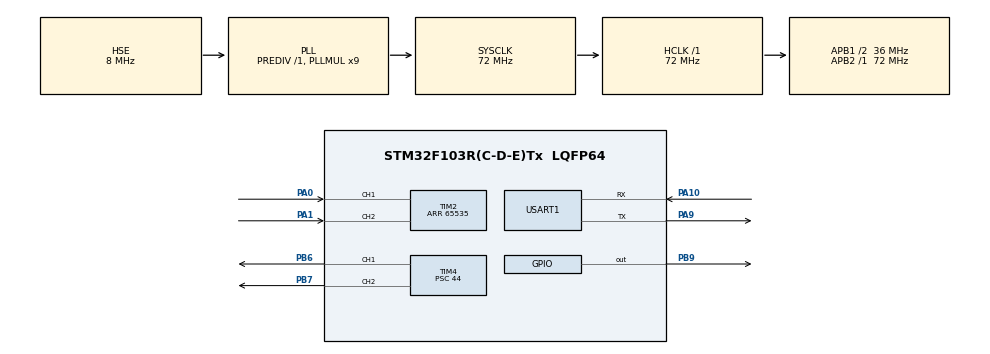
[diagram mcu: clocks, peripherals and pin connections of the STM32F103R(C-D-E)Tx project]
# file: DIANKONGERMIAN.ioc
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Mcu.Family=STM32F1
Mcu.Name=STM32F103R(C-D-E)Tx
Mcu.Package=LQFP64
NVIC.FLASH_IRQn=true\:0\:0\:false\:true\:true\:1\:true
NVIC.PriorityGroup=NVIC_PRIORITYGROUP_4
NVIC.TIM2_IRQn=true\:0\:0\:false\:true\:true\:2\:true
NVIC.TIM4_IRQn=true\:0\:0\:false\:true\:true\:4\:true
NVIC.USART1_IRQn=true\:0\:0\:false\:true\:true\:3\:true
PA0-WKUP.Signal=S_TIM2_CH1_ETR
PA1.Signal=S_TIM2_CH2
PA10.Mode=Multiprocessor_communication
PA10.Signal=USART1_RX
PA13.Mode=Serial_Wire
PA13.Signal=SYS_JTMS-SWDIO
PA14.Mode=Serial_Wire
PA14.Signal=SYS_JTCK-SWCLK
PA9.Mode=Multiprocessor_communication
PA9.Signal=USART1_TX
PB6.Signal=S_TIM4_CH1
PB7.Signal=S_TIM4_CH2
PB9.Signal=GPIO_Output
PD0-OSC_IN.Mode=HSE-External-Oscillator
PD0-OSC_IN.Signal=RCC_OSC_IN
PD1-OSC_OUT.Mode=HSE-External-Oscillator
PD1-OSC_OUT.Signal=RCC_OSC_OUT
ProjectManager.HeapSize=0x200
ProjectManager.StackSize=0x400
ProjectManager.TargetToolchain=EWARM
RCC.AHBFreq_Value=72000000
RCC.APB1CLKDivider=RCC_HCLK_DIV2
RCC.APB1Freq_Value=36000000
RCC.APB1TimFreq_Value=72000000
RCC.APB2Freq_Value=72000000
RCC.APB2TimFreq_Value=72000000
RCC.HCLKFreq_Value=72000000
RCC.PLLMUL=RCC_PLL_MUL9
RCC.PLLSourceVirtual=RCC_PLLSOURCE_HSE
RCC.SYSCLKFreq_VALUE=72000000
RCC.SYSCLKSource=RCC_SYSCLKSOURCE_PLLCLK
RCC.USBFreq_Value=72000000
SH.S_TIM2_CH1_ETR.0=TIM2_CH1
SH.S_TIM2_CH1_ETR.1=TIM2_CH1,Encoder_Interface
SH.S_TIM2_CH2.0=TIM2_CH2,Encoder_Interface
SH.S_TIM4_CH1.0=TIM4_CH1,PWM Generation1 CH1
SH.S_TIM4_CH2.0=TIM4_CH2,PWM Generation2 CH2
TIM2.ClockDivision=TIM_CLOCKDIVISION_DIV1
TIM2.EncoderMode=TIM_ENCODERMODE_TI12
TIM2.Period=65535
TIM4.Channel-PWM\ Generation1\ CH1=TIM_CHANNEL_1
TIM4.Channel-PWM\ Generation2\ CH2=TIM_CHANNEL_2
TIM4.Period=200
TIM4.Prescaler=44
TIM4.Pulse-PWM\ Generation1\ CH1=200
TIM4.Pulse-PWM\ Generation2\ CH2=15
USART1.VirtualMode=VM_ASYNC
VP_TIM4_VS_ClockSourceINT.Mode=Internal
board=custom

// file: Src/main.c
/**
  ******************************************************************************
  * @file           : main.c
  * @brief          : Main program body
  ******************************************************************************
  ** This notice applies to any and all portions of this file
  * that are not between comment pairs USER CODE BEGIN and
  * USER CODE END. Other portions of this file, whether
  * inserted by the user or by software development tools
  * are owned by their respective copyright owners.
  *
  * COPYRIGHT(c) 2018 STMicroelectronics
  *
  * Redistribution and use in source and binary forms, with or without modification,
  * are permitted provided that the following conditions are met:
  *   1. Redistributions of source code must retain the above copyright notice,
  *      this list of conditions and the following disclaimer.
  *   2. Redistributions in binary form must reproduce the above copyright notice,
  *      this list of conditions and the following disclaimer in the documentation
  *      and/or other materials provided with the distribution.
  *   3. Neither the name of STMicroelectronics nor the names of its contributors
  *      may be used to endorse or promote products derived from this software
  *      without specific prior written permission.
  *
  * THIS SOFTWARE IS PROVIDED BY THE COPYRIGHT HOLDERS AND CONTRIBUTORS "AS IS"
  * AND ANY EXPRESS OR IMPLIED WARRANTIES, INCLUDING, BUT NOT LIMITED TO, THE
  * IMPLIED WARRANTIES OF MERCHANTABILITY AND FITNESS FOR A PARTICULAR PURPOSE ARE
  * DISCLAIMED. IN NO EVENT SHALL THE COPYRIGHT HOLDER OR CONTRIBUTORS BE LIABLE
  * FOR ANY DIRECT, INDIRECT, INCIDENTAL, SPECIAL, EXEMPLARY, OR CONSEQUENTIAL
  * DAMAGES (INCLUDING, BUT NOT LIMITED TO, PROCUREMENT OF SUBSTITUTE GOODS OR
  * SERVICES; LOSS OF USE, DATA, OR PROFITS; OR BUSINESS INTERRUPTION) HOWEVER
  * CAUSED AND ON ANY THEORY OF LIABILITY, WHETHER IN CONTRACT, STRICT LIABILITY,
  * OR TORT (INCLUDING NEGLIGENCE OR OTHERWISE) ARISING IN ANY WAY OUT OF THE USE
  * OF THIS SOFTWARE, EVEN IF ADVISED OF THE POSSIBILITY OF SUCH DAMAGE.
  *
  ******************************************************************************
  */
#include "main.h"
#include "stm32f1xx_hal.h"

/* USER CODE BEGIN Includes */
#include <stdio.h>
#include <stdarg.h>
#include <string.h>

/* USER CODE END Includes */

TIM_HandleTypeDef htim2;
TIM_HandleTypeDef htim4;

UART_HandleTypeDef huart1;

/* USER CODE BEGIN PV */
/* Private variables ---------------------------------------------------------*/
char buffer_rx_temp;
int target1;//目标速度,应由位置环输入
int location=1000000;//目标地点，CNT累计10000
/* USER CODE END PV */

void SystemClock_Config(void);
static void MX_GPIO_Init(void);
static void MX_TIM2_Init(void);
static void MX_USART1_UART_Init(void);
static void MX_TIM4_Init(void);
static void MX_NVIC_Init(void);

void HAL_TIM_MspPostInit(TIM_HandleTypeDef *htim);

/* USER CODE BEGIN PFP */
/* Private function prototypes -----------------------------------------------*/

/* USER CODE END PFP */

int main(void)
{

  /* MCU Configuration----------------------------------------------------------*/

  /* Reset of all peripherals, Initializes the Flash interface and the Systick. */
  HAL_Init();

  /* Configure the system clock */
  SystemClock_Config();

  /* Initialize all configured peripherals */
  MX_GPIO_Init();
  MX_TIM2_Init();
  MX_USART1_UART_Init();
  MX_TIM4_Init();

  /* Initialize interrupts */
  MX_NVIC_Init();

  /* Infinite loop */
  while (1)
  {
   //waibu();
  }

}

void SystemClock_Config(void)
{

  RCC_OscInitTypeDef RCC_OscInitStruct;
  RCC_ClkInitTypeDef RCC_ClkInitStruct;

    /**Initializes the CPU, AHB and APB busses clocks
    */
  RCC_OscInitStruct.OscillatorType = RCC_OSCILLATORTYPE_HSE;
  RCC_OscInitStruct.HSEState = RCC_HSE_ON;
  RCC_OscInitStruct.HSEPredivValue = RCC_HSE_PREDIV_DIV1;
  RCC_OscInitStruct.HSIState = RCC_HSI_ON;
  RCC_OscInitStruct.PLL.PLLState = RCC_PLL_ON;
  RCC_OscInitStruct.PLL.PLLSource = RCC_PLLSOURCE_HSE;
  RCC_OscInitStruct.PLL.PLLMUL = RCC_PLL_MUL9;
  if (HAL_RCC_OscConfig(&RCC_OscInitStruct) != HAL_OK)
  {
    _Error_Handler(__FILE__, __LINE__);
  }

    /**Initializes the CPU, AHB and APB busses clocks
    */
  RCC_ClkInitStruct.ClockType = RCC_CLOCKTYPE_HCLK|RCC_CLOCKTYPE_SYSCLK
                              |RCC_CLOCKTYPE_PCLK1|RCC_CLOCKTYPE_PCLK2;
  RCC_ClkInitStruct.SYSCLKSource = RCC_SYSCLKSOURCE_PLLCLK;
  RCC_ClkInitStruct.AHBCLKDivider = RCC_SYSCLK_DIV1;
  RCC_ClkInitStruct.APB1CLKDivider = RCC_HCLK_DIV2;
  RCC_ClkInitStruct.APB2CLKDivider = RCC_HCLK_DIV1;

  if (HAL_RCC_ClockConfig(&RCC_ClkInitStruct, FLASH_LATENCY_2) != HAL_OK)
  {
    _Error_Handler(__FILE__, __LINE__);
  }

    /**Configure the Systick interrupt time
    */
  HAL_SYSTICK_Config(HAL_RCC_GetHCLKFreq()/1000);//时钟设置

    /**Configure the Systick
    */
  HAL_SYSTICK_CLKSourceConfig(SYSTICK_CLKSOURCE_HCLK);

  /* SysTick_IRQn interrupt configuration */
  HAL_NVIC_SetPriority(SysTick_IRQn, 0, 0);
}

/**
  * @brief NVIC Configuration.
  * @retval None
  */
static void MX_NVIC_Init(void)
{
  /* FLASH_IRQn interrupt configuration */
  HAL_NVIC_SetPriority(FLASH_IRQn, 0, 0);
  HAL_NVIC_EnableIRQ(FLASH_IRQn);
  /* TIM2_IRQn interrupt configuration */
  HAL_NVIC_SetPriority(TIM2_IRQn, 0, 0);
  HAL_NVIC_EnableIRQ(TIM2_IRQn);
  /* USART1_IRQn interrupt configuration */
  HAL_NVIC_SetPriority(USART1_IRQn, 0, 0);
  HAL_NVIC_EnableIRQ(USART1_IRQn);
  /* TIM4_IRQn interrupt configuration */
  HAL_NVIC_SetPriority(TIM4_IRQn, 0, 0);
  HAL_NVIC_EnableIRQ(TIM4_IRQn);
}//中断设置系列

/* TIM2 init function */
static void MX_TIM2_Init(void)
{

  TIM_Encoder_InitTypeDef sConfig;
  TIM_MasterConfigTypeDef sMasterConfig;

  htim2.Instance = TIM2;
  htim2.Init.Prescaler = 0;
  htim2.Init.CounterMode = TIM_COUNTERMODE_UP;
  htim2.Init.Period = 65535;
  htim2.Init.ClockDivision = TIM_CLOCKDIVISION_DIV1;
  htim2.Init.AutoReloadPreload = TIM_AUTORELOAD_PRELOAD_DISABLE;
  sConfig.EncoderMode = TIM_ENCODERMODE_TI12;
  sConfig.IC1Polarity = TIM_ICPOLARITY_RISING;
  sConfig.IC1Selection = TIM_ICSELECTION_DIRECTTI;
  sConfig.IC1Prescaler = TIM_ICPSC_DIV1;
  sConfig.IC1Filter = 0;
  sConfig.IC2Polarity = TIM_ICPOLARITY_RISING;
  sConfig.IC2Selection = TIM_ICSELECTION_DIRECTTI;
  sConfig.IC2Prescaler = TIM_ICPSC_DIV1;
  sConfig.IC2Filter = 0;
  if (HAL_TIM_Encoder_Init(&htim2, &sConfig) != HAL_OK)
  {
    _Error_Handler(__FILE__, __LINE__);
  }

  sMasterConfig.MasterOutputTrigger = TIM_TRGO_RESET;
  sMasterConfig.MasterSlaveMode = TIM_MASTERSLAVEMODE_DISABLE;
  if (HAL_TIMEx_MasterConfigSynchronization(&htim2, &sMasterConfig) != HAL_OK)
  {
    _Error_Handler(__FILE__, __LINE__);
  }
 HAL_TIM_Encoder_Start(&htim2, TIM_CHANNEL_1);
    HAL_TIM_Encoder_Start(&htim2, TIM_CHANNEL_2);

}

/* TIM4 init function */
static void MX_TIM4_Init(void)
{

  TIM_ClockConfigTypeDef sClockSourceConfig;
  TIM_MasterConfigTypeDef sMasterConfig;
  TIM_OC_InitTypeDef sConfigOC;

  htim4.Instance = TIM4;
  htim4.Init.Prescaler = 44;
  htim4.Init.CounterMode = TIM_COUNTERMODE_UP;
  htim4.Init.Period = 200;
  htim4.Init.ClockDivision = TIM_CLOCKDIVISION_DIV1;
  htim4.Init.AutoReloadPreload = TIM_AUTORELOAD_PRELOAD_DISABLE;
  if (HAL_TIM_Base_Init(&htim4) != HAL_OK)
  {
    _Error_Handler(__FILE__, __LINE__);
  }

  sClockSourceConfig.ClockSource = TIM_CLOCKSOURCE_INTERNAL;
  if (HAL_TIM_ConfigClockSource(&htim4, &sClockSourceConfig) != HAL_OK)
  {
    _Error_Handler(__FILE__, __LINE__);
  }

  if (HAL_TIM_PWM_Init(&htim4) != HAL_OK)
  {
    _Error_Handler(__FILE__, __LINE__);
  }

  sMasterConfig.MasterOutputTrigger = TIM_TRGO_RESET;
  sMasterConfig.MasterSlaveMode = TIM_MASTERSLAVEMODE_DISABLE;
  if (HAL_TIMEx_MasterConfigSynchronization(&htim4, &sMasterConfig) != HAL_OK)
  {
    _Error_Handler(__FILE__, __LINE__);
  }

  sConfigOC.OCMode = TIM_OCMODE_PWM1;
  sConfigOC.Pulse = 200;
  sConfigOC.OCPolarity = TIM_OCPOLARITY_HIGH;
  sConfigOC.OCFastMode = TIM_OCFAST_DISABLE;
  if (HAL_TIM_PWM_ConfigChannel(&htim4, &sConfigOC, TIM_CHANNEL_1) != HAL_OK)
  {
    _Error_Handler(__FILE__, __LINE__);
  }

  sConfigOC.Pulse = 15;
  if (HAL_TIM_PWM_ConfigChannel(&htim4, &sConfigOC, TIM_CHANNEL_2) != HAL_OK)
  {
    _Error_Handler(__FILE__, __LINE__);
  }

  HAL_TIM_MspPostInit(&htim4);
  HAL_TIM_PWM_Start(&htim4,TIM_CHANNEL_1);
  HAL_TIM_PWM_Start(&htim4,TIM_CHANNEL_2);

}

/* USART1 init function */
static void MX_USART1_UART_Init(void)
{

  huart1.Instance = USART1;
  huart1.Init.BaudRate = 115200;
  huart1.Init.WordLength = UART_WORDLENGTH_8B;
  huart1.Init.StopBits = UART_STOPBITS_1;
  huart1.Init.Parity = UART_PARITY_NONE;
  huart1.Init.Mode = UART_MODE_TX_RX;
  huart1.Init.HwFlowCtl = UART_HWCONTROL_NONE;
  huart1.Init.OverSampling = UART_OVERSAMPLING_16;

  if (HAL_MultiProcessor_Init(&huart1, 0, UART_WAKEUPMETHOD_IDLELINE) != HAL_OK)
  {
    _Error_Handler(__FILE__, __LINE__);
  }
HAL_UART_Receive_IT(&huart1,(uint8_t *)&buffer_rx_temp,1);//第一次开启中断
}

/** Configure pins as
        * Analog
        * Input
        * Output
        * EVENT_OUT
        * EXTI
*/
static void MX_GPIO_Init(void)
{

  GPIO_InitTypeDef GPIO_InitStruct;

  /* GPIO Ports Clock Enable */
  __HAL_RCC_GPIOD_CLK_ENABLE();
  __HAL_RCC_GPIOA_CLK_ENABLE();
  __HAL_RCC_GPIOB_CLK_ENABLE();

  /*Configure GPIO pin Output Level */
  HAL_GPIO_WritePin(GPIOB, GPIO_PIN_9, GPIO_PIN_RESET);

  /*Configure GPIO pin : PB9 */
  GPIO_InitStruct.Pin = GPIO_PIN_9;
  GPIO_InitStruct.Mode = GPIO_MODE_OUTPUT_PP;
  GPIO_InitStruct.Pull = GPIO_NOPULL;
  GPIO_InitStruct.Speed = GPIO_SPEED_FREQ_LOW;
  HAL_GPIO_Init(GPIOB, &GPIO_InitStruct);

}

/* USER CODE BEGIN 4 */

char uart_buffer[100 + 1];
void uprintf(char *fmt, ...)
{
	int size;

	va_list arg_ptr;

	va_start(arg_ptr, fmt);

	size=vsnprintf(uart_buffer, 100 + 1, fmt, arg_ptr);
	va_end(arg_ptr);
    HAL_UART_Transmit(&huart1,(uint8_t *)uart_buffer,size,1000);
}//重写的uprint替代print
void TIM_PWM_PIDSET(uint32_t TIMx, uint32_t CCRx, uint32_t PWM_Pluse)
{
   //float kp=0.2;
//float ki=0;
//float kd=0.1;
//if(TIMx==4)
{//if(CCRx==2)
{
  //float now=TIM4->CCR2;//读取当前ccr2的值
  //while(TIM4->CCR2!=PWM_Pluse)
  {
   // TIM4->CCR2=(uint32_t)(PWM_Pluse+(PWM_Pluse-now)*kp+now*ki+(PWM_Pluse-now)*kd);
  }//增量式的PID
}
}

}
void HAL_UART_RxCpltCallback(UART_HandleTypeDef *huart)
{
   if(huart->Instance==USART1){
    if(buffer_rx_temp=='a'){
       uprintf("hello,world!\r\n");//试用uprint
      }
       if(buffer_rx_temp=='s')
       {  target1=-500;
       }
  }

   HAL_UART_Receive_IT(&huart1,(uint8_t *)&buffer_rx_temp,1);
}//试写的回调函数
char s[22]={'b','y',16,6};
void send_wave(float arg1,float arg2,float arg3,float arg4){

  s[2]=16;  //length
  s[3]=6;   //type
  s[20]='\r';
  s[21]='\n';
  memcpy(s+4,&arg1,sizeof(arg1));
  memcpy(s+8,&arg2,sizeof(arg1));
  memcpy(s+12,&arg3,sizeof(arg1));
  memcpy(s+16,&arg4,sizeof(arg1));
  HAL_UART_Transmit(&huart1,(uint8_t *)s, 22,1000);

}//用于发送给虚拟示波器
void HAL_SYSTICK_Callback(void)
{

   static int time_1ms;
  int speed=0x7FFF;
  static int juli=0;//当前走过的路程
  time_1ms++;
  if(time_1ms==10){
    float kp=0.12;
float ki=0.00022;
float kd=0.0035;

    time_1ms=0;
  speed=TIM2->CNT-0x7FFF;

    //juli=juli+speed;
    //int derr1=location+juli;
  //  if(derr1>=250000)
  //  {target1=-(uint32_t)derr1*0.0000001;}
  //  else if()//根据距离得出目标速度
  //位置环，得出目标速度

    int err1=target1-speed;//target为全局变量,-1000
    int  err2=0;
   static int err3=0;
      TIM4->CCR2=(uint32_t)(kp*err1+ki*err3-kd*(err1-err2));//速度环，得出目标占空比
  //PID,半速CNT为-1158
     err2=err1;
     err3=err3+err1;
   //uprintf("speed=%d\r\n",speed);
     //速度环，得出目标占空比

  send_wave((float)speed,(float)target1,(float)derr1,0);
  TIM2->CNT=0X7FFF;
  }
}//时钟滴答中断

/* USER CODE END 4 */

void _Error_Handler(char *file, int line)
{
  while(1)
  {
  }
}

/************************ (C) COPYRIGHT STMicroelectronics *****END OF FILE****/
